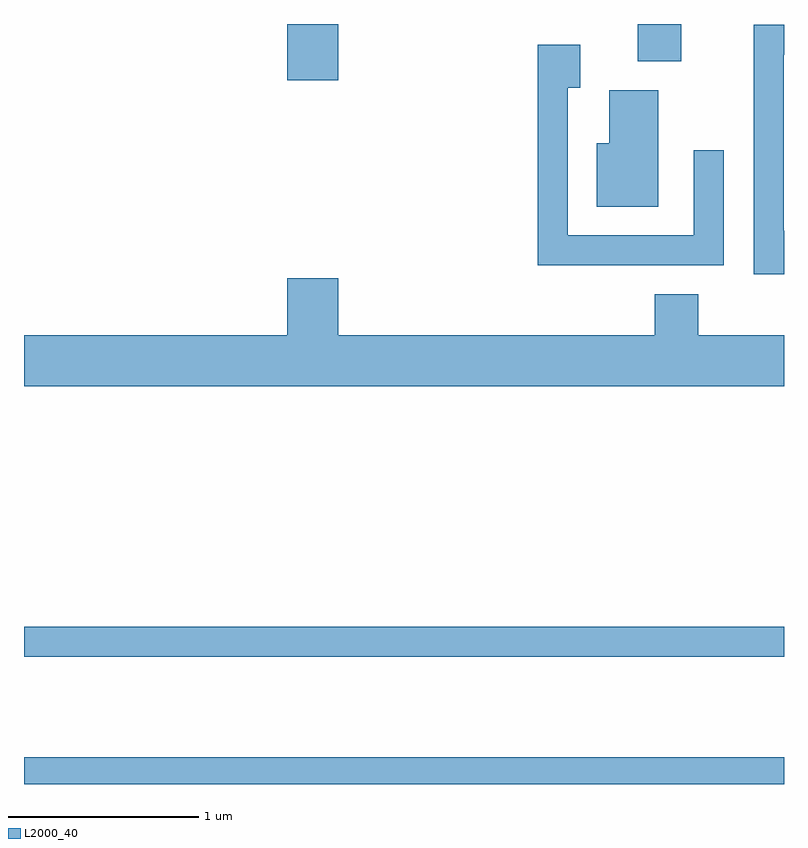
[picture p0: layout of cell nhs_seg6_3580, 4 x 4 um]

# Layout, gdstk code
import gdstk
lib = gdstk.Library(unit=1e-6, precision=1e-09)
def R(c, l, rs):  # rectangles x0, y0, x1, y1
    for r in rs: c.add(gdstk.rectangle(r[:2], r[2:], *l))
def P(c, l, *ps):  # polygons
    for p in ps: c.add(gdstk.Polygon(p, *l))
L2000_40 = (2000, 40)

nhs_seg6_3580 = lib.new_cell('nhs_seg6_3580')
R(nhs_seg6_3580, L2000_40, [(293.611,1550.162,297.611,1550.304), (293.611,1550.831,297.611,1550.989), (294.996,1553.866,295.264,1554.162), (296.841,1553.966,297.069,1554.162)])
P(nhs_seg6_3580, L2000_40, [(297.611,1553.074),(297.609,1553.074),(297.609,1554.001),(297.611,1554.001),(297.611,1554.159),(297.451,1554.159),(297.451,1552.846),(297.611,1552.846)],
  [(297.294,1553.498),(297.136,1553.498),(297.136,1553.049),(296.474,1553.049),(296.474,1553.826),(296.539,1553.826),(296.539,1554.054),(296.316,1554.054),(296.316,1552.891),(297.294,1552.891)],
  [(296.949,1553.814),(296.691,1553.814),(296.691,1553.534),(296.626,1553.534),(296.626,1553.201),(296.949,1553.201)],
  [(297.611,1552.524),(297.159,1552.524),(297.159,1552.739),(296.931,1552.739),(296.931,1552.524),(295.264,1552.524),(295.264,1552.824),(294.996,1552.824),(294.996,1552.524),(293.611,1552.524),(293.611,1552.256),(297.611,1552.256)])

lib.write_gds('nhs_seg6_3580.gds')
